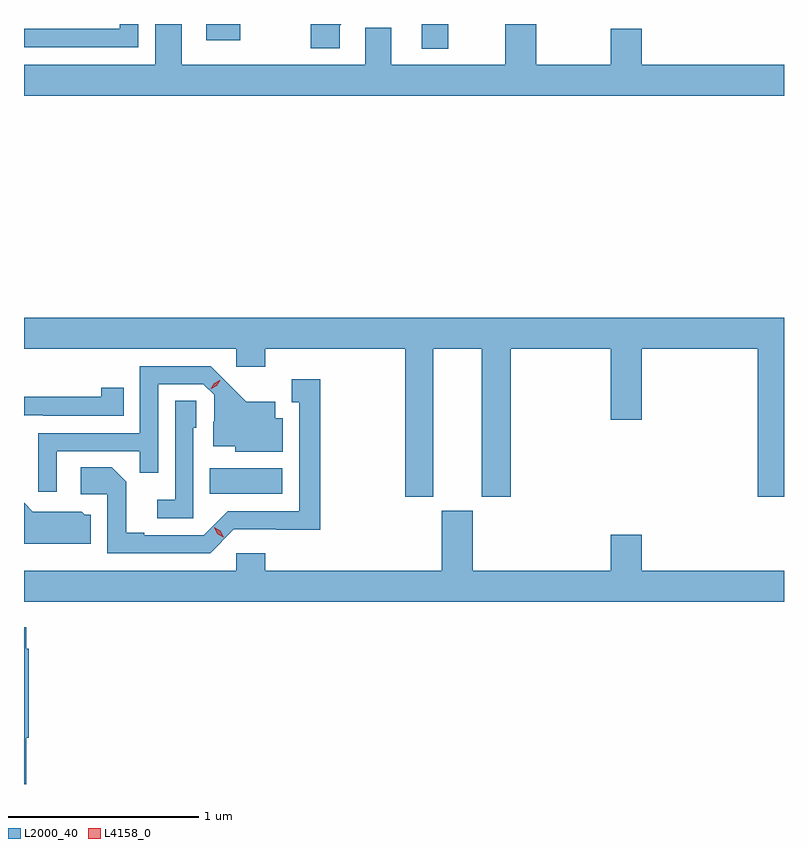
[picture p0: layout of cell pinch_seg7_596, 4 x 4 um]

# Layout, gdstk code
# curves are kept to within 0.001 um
import gdstk
lib = gdstk.Library(unit=1e-6, precision=1e-09)
def R(c, l, rs):  # rectangles x0, y0, x1, y1
    for r in rs: c.add(gdstk.rectangle(r[:2], r[2:], *l))
def P(c, l, *ps):  # polygons
    for p in ps: c.add(gdstk.Polygon(p, *l))
L2000_40 = (2000, 40)
L4158_0 = (4158, 0)

pinch_seg7_596 = lib.new_cell('pinch_seg7_596')
R(pinch_seg7_596, L2000_40, [(174.886,1030.49,175.267,1030.624), (176.003,1032.833,176.143,1032.962), (174.867,1032.876,175.048,1032.962)])
P(pinch_seg7_596, L2000_40, [(177.909,1032.748),(177.16,1032.748),(177.16,1032.937),(176.996,1032.937),(176.996,1032.748),(176.605,1032.748),(176.605,1032.962),(176.441,1032.962),(176.441,1032.748),(175.843,1032.748),(175.843,1032.943),(175.704,1032.943),(175.704,1032.748),(174.739,1032.748),(174.739,1032.962),(174.599,1032.962),(174.599,1032.748),(173.909,1032.748),(173.909,1032.584),(177.909,1032.584)],
  [(174.51,1032.962),(174.413,1032.962),(174.413,1032.936),(173.929,1032.936),(173.929,1032.937),(173.909,1032.937),(173.909,1032.84),(174.51,1032.84)],
  [(175.572,1032.954),(175.58,1032.962),(175.417,1032.962),(175.417,1032.834),(175.572,1032.834)],
  [(176.062,1031.252),(176.318,1031.252),(176.318,1030.473),(176.471,1030.473),(176.471,1031.252),(176.996,1031.252),(176.996,1030.878),(177.16,1030.878),(177.16,1031.252),(177.77,1031.252),(177.77,1030.473),(177.909,1030.473),(177.909,1031.416),(173.909,1031.416),(173.909,1031.252),(175.026,1031.252),(175.026,1031.157),(175.178,1031.157),(175.178,1031.252),(175.915,1031.252),(175.915,1030.473),(176.062,1030.473)],
  [(174.081,1030.713),(174.517,1030.713),(174.517,1030.6),(174.615,1030.6),(174.615,1031.067),(174.852,1031.067),(174.909,1031.01),(174.909,1030.868),(174.905,1030.868),(174.905,1030.739),(175.02,1030.739),(175.02,1030.712),(175.27,1030.712),(175.27,1030.888),(175.231,1030.888),(175.231,1030.975),(175.079,1030.975),(174.892,1031.16),(174.519,1031.16),(174.519,1030.809),(173.985,1030.809),(173.985,1030.5),(174.081,1030.5)],
  [(175.014,1030.302),(175.469,1030.301),(175.469,1031.092),(175.319,1031.092),(175.319,1030.971),(175.358,1030.971),(175.358,1030.398),(174.981,1030.398),(174.855,1030.272),(174.541,1030.272),(174.541,1030.285),(174.447,1030.285),(174.447,1030.552),(174.371,1030.628),(174.207,1030.628),(174.207,1030.488),(174.348,1030.488),(174.348,1030.176),(174.888,1030.176)],
  [(174.434,1031.047),(174.316,1031.047),(174.316,1031),(173.959,1031),(173.959,1030.999),(173.909,1030.999),(173.909,1030.901),(173.91,1030.902),(174.01,1030.902),(174.01,1030.899),(174.434,1030.899)],
  [(174.801,1030.836),(174.816,1030.836),(174.816,1030.979),(174.705,1030.979),(174.705,1030.459),(174.609,1030.459),(174.609,1030.362),(174.801,1030.362)],
  [(174.259,1030.38),(174.228,1030.38),(174.212,1030.396),(174.078,1030.396),(174.078,1030.395),(173.955,1030.395),(173.909,1030.441),(173.909,1030.226),(174.259,1030.226)],
  [(177.909,1030.084),(177.16,1030.084),(177.16,1030.273),(176.996,1030.273),(176.996,1030.084),(176.272,1030.084),(176.272,1030.401),(176.108,1030.401),(176.108,1030.084),(175.178,1030.084),(175.178,1030.177),(175.026,1030.177),(175.026,1030.084),(173.909,1030.084),(173.909,1029.92),(177.909,1029.92)],
  [(173.92,1029.206),(173.933,1029.206),(173.933,1029.674),(173.92,1029.674),(173.92,1029.787),(173.909,1029.787),(173.909,1028.962),(173.92,1028.962)])
P(pinch_seg7_596, L4158_0, [(174.958,1030.261),(174.927,1030.28),(174.91,1030.313),(174.91,1030.313),(174.91,1030.313),(174.941,1030.294),(174.959,1030.261),(174.959,1030.261)],
  [(174.893,1031.042),(174.893,1031.042),(174.91,1031.072),(174.94,1031.088),(174.941,1031.088),(174.941,1031.087),(174.924,1031.058),(174.894,1031.042)])

lib.write_gds('pinch_seg7_596.gds')
